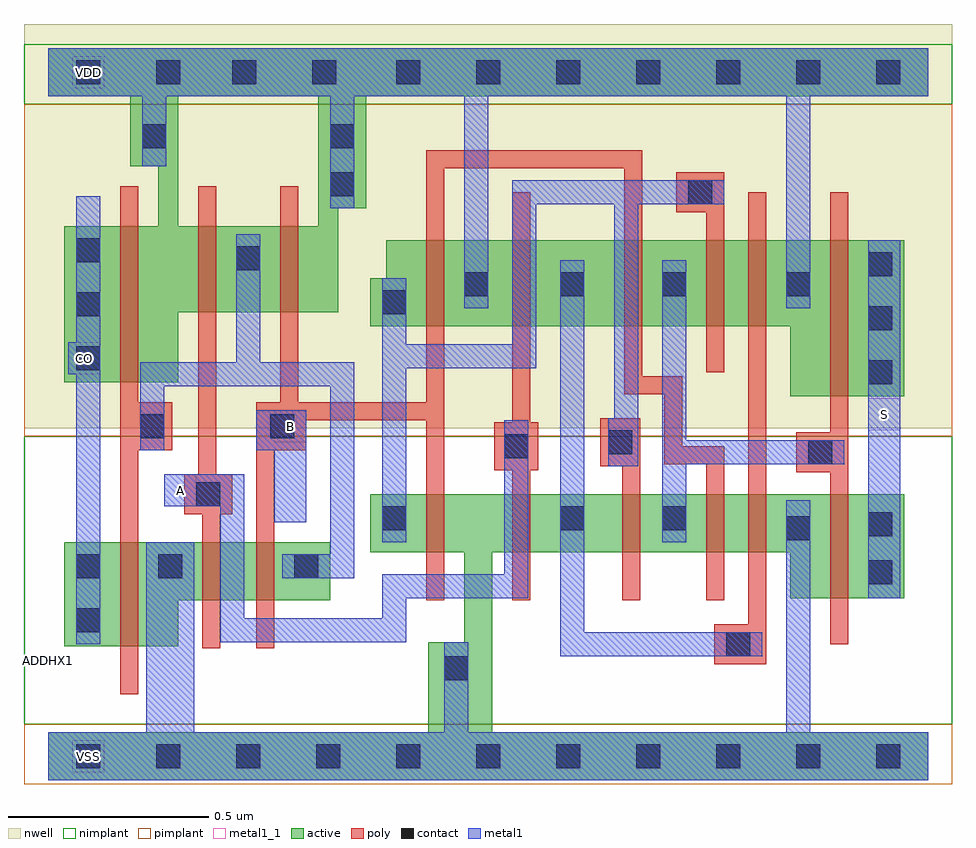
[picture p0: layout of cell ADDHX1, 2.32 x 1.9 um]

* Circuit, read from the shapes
.subckt ADDHX1 A B CO S VDD VSS
M1 VSS n1 CO VSS nfet w=0.26u l=0.045u
M2 n2 A VSS VSS nfet w=0.145u l=0.045u
M3 n1 B n2 VSS nfet w=0.145u l=0.045u
M4 VSS B n3 VSS nfet w=0.145u l=0.045u
M5 n4 A VSS VSS nfet w=0.145u l=0.045u
M6 n5 n3 n4 VSS nfet w=0.145u l=0.045u
M7 n6 B n5 VSS nfet w=0.145u l=0.045u
M8 VSS n4 n6 VSS nfet w=0.145u l=0.045u
M9 S n5 VSS VSS nfet w=0.26u l=0.045u
M10 VDD n1 CO VDD pfet w=0.39u l=0.045u
M11 n1 A VDD VDD pfet w=0.215u l=0.045u
M12 VDD B n1 VDD pfet w=0.215u l=0.045u
M13 VDD B n3 VDD pfet w=0.215u l=0.045u
M14 n4 A VDD VDD pfet w=0.215u l=0.045u
M15 n5 B n4 VDD pfet w=0.215u l=0.045u
M16 n7 n3 n5 VDD pfet w=0.215u l=0.045u
M17 VDD n4 n7 VDD pfet w=0.215u l=0.045u
M18 S n5 VDD VDD pfet w=0.39u l=0.045u
.ends

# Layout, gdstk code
import gdstk
lib = gdstk.Library(unit=1e-6, precision=5e-10)
def R(c, l, rs):  # rectangles x0, y0, x1, y1
    for r in rs: c.add(gdstk.rectangle(r[:2], r[2:], *l))
def A(c, l, x, y, w, h, nx, ny, dx, dy):  # array of equal rectangles
    R(c, l, [(x+i*dx, y+j*dy, x+i*dx+w, y+j*dy+h) for i in range(nx) for j in range(ny)])
def P(c, l, *ps):  # polygons
    for p in ps: c.add(gdstk.Polygon(p, *l))
active = (1, 0)
nwell = (2, 0)
poly = (3, 0)
nimplant = (4, 0)
pimplant = (5, 0)
contact = (6, 0)
metal1 = (7, 0)
metal1_1 = (7, 1)

addhx1 = lib.new_cell('ADDHX1')
P(addhx1, active, [(2.2,0.06),(1.11,0.06),(1.11,0.51),(1.855,0.51),(1.855,0.395),(2.14,0.395),(2.14,0.655),(0.805,0.655),(0.805,0.51),(1.04,0.51),(1.04,0.285),(0.95,0.285),(0.95,0.06),(0,0.06),(0,-0.06),(2.2,-0.06)],
  [(2.2,1.77),(0.675,1.77),(0.675,1.325),(0.325,1.325),(0.325,1.65),(0.675,1.65),(0.675,1.77),(0,1.77),(0,1.65),(0.205,1.65),(0.205,1.475),(0.275,1.475),(0.275,1.325),(0.04,1.325),(0.04,0.935),(0.325,0.935),(0.325,1.11),(0.725,1.11),(0.725,1.37),(0.795,1.37),(0.795,1.65),(2.2,1.65)],
  [(2.14,1.29),(0.845,1.29),(0.845,1.195),(0.805,1.195),(0.805,1.075),(1.855,1.075),(1.855,0.9),(2.14,0.9)],
  [(0.705,0.535),(0.04,0.535),(0.04,0.275),(0.325,0.275),(0.325,0.39),(0.705,0.39)])
R(addhx1, nwell, [(-0.06,0.82,2.26,1.83)])
P(addhx1, poly, [(1.795,1.41),(1.75,1.41),(1.75,0.33),(1.665,0.33),(1.665,0.23),(1.795,0.23)],
  [(1.69,0.775),(1.585,0.775),(1.585,0.95),(1.485,0.95),(1.485,1.515),(0.945,1.515),(0.945,0.885),(0.625,0.885),(0.625,1.425),(0.58,1.425),(0.58,0.885),(0.52,0.885),(0.52,0.27),(0.565,0.27),(0.565,0.765),(0.645,0.765),(0.645,0.84),(0.945,0.84),(0.945,0.39),(0.99,0.39),(0.99,1.47),(1.44,1.47),(1.44,0.905),(1.54,0.905),(1.54,0.73),(1.645,0.73),(1.645,0.39),(1.69,0.39)],
  [(1.69,1.46),(1.57,1.46),(1.57,1.36),(1.645,1.36),(1.645,0.96),(1.69,0.96)],
  [(2,1.41),(1.955,1.41),(1.955,0.81),(1.87,0.81),(1.87,0.71),(1.955,0.71),(1.955,0.28),(2,0.28)],
  [(1.48,0.845),(1.38,0.845),(1.38,0.725),(1.435,0.725),(1.435,0.39),(1.48,0.39)],
  [(1.225,0.835),(1.205,0.835),(1.205,1.41),(1.16,1.41),(1.16,0.835),(1.115,0.835),(1.115,0.715),(1.16,0.715),(1.16,0.39),(1.205,0.39),(1.205,0.715),(1.225,0.715)],
  [(0.46,0.705),(0.42,0.705),(0.42,1.425),(0.375,1.425),(0.375,0.705),(0.34,0.705),(0.34,0.605),(0.385,0.605),(0.385,0.27),(0.43,0.27),(0.43,0.605),(0.46,0.605)],
  [(0.31,0.885),(0.225,0.885),(0.225,1.425),(0.18,1.425),(0.18,0.155),(0.225,0.155),(0.225,0.765),(0.31,0.765)])
R(addhx1, nimplant, [(-0.06,0.08,2.26,0.8), (-0.06,1.63,2.26,1.78)])
R(addhx1, pimplant, [(-0.06,-0.07,2.26,0.08), (-0.06,0.8,2.26,1.63)])
A(addhx1, contact, 0.07, -0.03, 0.06, 0.06, 11, 1, 0.2, 0)
A(addhx1, contact, 2.05, 0.93, 0.06, 0.06, 1, 3, 0, 0.135)
A(addhx1, contact, 0.07, 0.965, 0.06, 0.06, 1, 3, 0, 0.135)
A(addhx1, contact, 0.87, 1.68, 0.06, 0.06, 7, 1, 0.2, 0)
R(addhx1, contact, [(0.99,0.19,1.05,0.25), (1.695,0.25,1.755,0.31), (0.07,0.31,0.13,0.37), (2.05,0.43,2.11,0.49), (0.07,0.445,0.13,0.505), (0.275,0.445,0.335,0.505), (0.615,0.445,0.675,0.505), (1.845,0.54,1.905,0.6), (2.05,0.55,2.11,0.61), (0.835,0.565,0.895,0.625), (1.28,0.565,1.34,0.625), (1.535,0.565,1.595,0.625), (0.37,0.625,0.43,0.685), (1.9,0.73,1.96,0.79), (1.14,0.745,1.2,0.805), (1.4,0.755,1.46,0.815), (0.23,0.795,0.29,0.855), (0.555,0.795,0.615,0.855), (0.835,1.105,0.895,1.165), (1.04,1.15,1.1,1.21), (1.28,1.15,1.34,1.21), (1.535,1.15,1.595,1.21), (1.845,1.15,1.905,1.21), (0.47,1.215,0.53,1.275), (1.6,1.38,1.66,1.44), (0.705,1.4,0.765,1.46), (0.235,1.52,0.295,1.58), (0.705,1.52,0.765,1.58), (0.07,1.68,0.13,1.74), (0.27,1.68,0.33,1.74), (0.46,1.68,0.52,1.74), (0.66,1.68,0.72,1.74)])
R(addhx1, metal1, [(2.05,0.395,2.13,1.29)])
P(addhx1, metal1, [(2.2,0.06),(1.905,0.06),(1.905,0.64),(1.845,0.64),(1.845,0.06),(1.05,0.06),(1.05,0.285),(0.99,0.285),(0.99,0.06),(0.365,0.06),(0.365,0.535),(0.245,0.535),(0.245,0.06),(0,0.06),(0,-0.06),(2.2,-0.06)],
  [(1.785,0.31),(1.34,0.31),(1.34,1.24),(1.28,1.24),(1.28,0.25),(1.785,0.25)],
  [(1.69,1.44),(1.16,1.44),(1.16,1.03),(0.895,1.03),(0.895,1.195),(0.835,1.195),(0.835,0.535),(0.895,0.535),(0.895,0.97),(1.22,0.97),(1.22,1.38),(1.415,1.38),(1.415,0.845),(1.4,0.845),(1.4,0.725),(1.475,0.725),(1.475,1.38),(1.69,1.38)],
  [(2.2,1.77),(0,1.77),(0,1.65),(0.235,1.65),(0.235,1.475),(0.295,1.475),(0.295,1.65),(0.705,1.65),(0.705,1.37),(0.765,1.37),(0.765,1.65),(1.04,1.65),(1.04,1.12),(1.1,1.12),(1.1,1.65),(1.845,1.65),(1.845,1.12),(1.905,1.12),(1.905,1.65),(2.2,1.65)],
  [(1.2,0.84),(1.14,0.84),(1.14,0.455),(0.835,0.455),(0.835,0.345),(0.49,0.345),(0.49,0.705),(0.29,0.705),(0.29,0.625),(0.43,0.625),(0.43,0.285),(0.895,0.285),(0.895,0.395),(1.2,0.395)],
  [(0.765,0.985),(0.53,0.985),(0.53,1.305),(0.47,1.305),(0.47,0.985),(0.23,0.985),(0.23,0.765),(0.29,0.765),(0.29,0.925),(0.705,0.925),(0.705,0.505),(0.585,0.505),(0.585,0.445),(0.765,0.445)],
  [(0.645,0.865),(0.52,0.865),(0.52,0.765),(0.565,0.765),(0.565,0.585),(0.645,0.585)],
  [(1.99,0.79),(1.595,0.79),(1.595,1.24),(1.535,1.24),(1.535,0.535),(1.595,0.535),(1.595,0.73),(1.99,0.73)],
  [(0.13,1.4),(0.07,1.4),(0.07,1.035),(0.05,1.035),(0.05,0.955),(0.07,0.955),(0.07,0.28),(0.13,0.28)])
R(addhx1, metal1_1, [(0.06,-0.04,0.14,0.04), (0.29,0.625,0.37,0.705), (0.565,0.785,0.645,0.865), (2.05,0.815,2.13,0.895), (0.05,0.955,0.13,1.035), (0.06,1.67,0.14,1.75)])
addhx1.add(gdstk.Label('B', (0.605,0.825), layer=7, texttype=1))
addhx1.add(gdstk.Label('S', (2.09,0.855), layer=7, texttype=1))
addhx1.add(gdstk.Label('CO', (0.09,0.995), layer=7, texttype=1))
addhx1.add(gdstk.Label('VDD', (0.1,1.71), layer=7, texttype=1))
addhx1.add(gdstk.Label('VSS', (0.1,0), layer=7, texttype=1))
addhx1.add(gdstk.Label('A', (0.33,0.665), layer=7, texttype=1))
addhx1.add(gdstk.Label('ADDHX1', (0,0.24), layer=63, texttype=0))

lib.write_gds('ADDHX1.gds')
